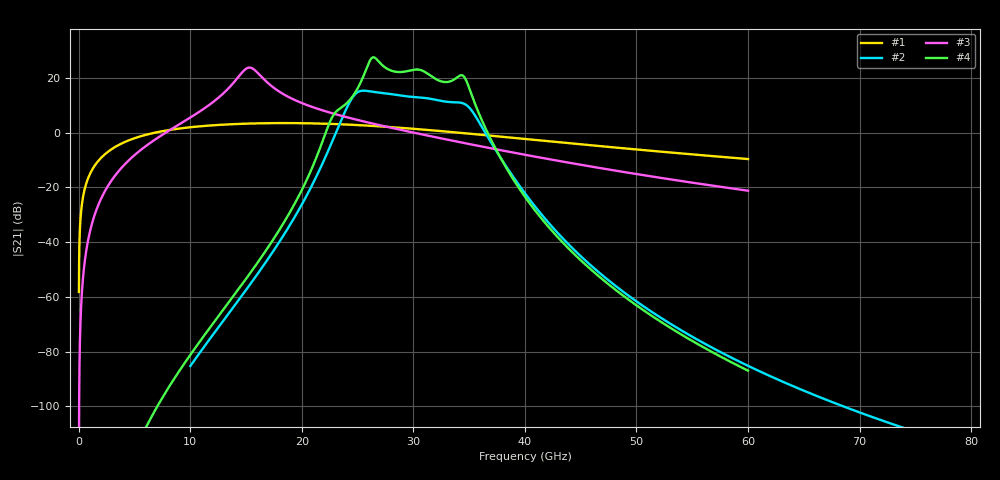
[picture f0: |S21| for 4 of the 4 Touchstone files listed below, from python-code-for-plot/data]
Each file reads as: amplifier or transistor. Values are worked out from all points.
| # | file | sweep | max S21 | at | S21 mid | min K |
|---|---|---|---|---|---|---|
| 1 | sdb-single.s2p | 10 MHz to 60 GHz | 3.5 dB | 18.38 GHz | 1.4 dB at 30.01 GHz | 0.09 |
| 2 | SDB-two-stage-ADS.s2p | 10 GHz to 80 GHz | 15.3 dB | 25.5 GHz | -45.1 dB at 45 GHz | 4.26 |
| 3 | two-stage-sdb-without.s2p | 10 MHz to 60 GHz | 23.8 dB | 15.3 GHz | 0.0 dB at 30.01 GHz | -4.53 |
| 4 | two-stage-sdb.s2p | 10 MHz to 60 GHz | 27.6 dB | 26.41 GHz | 23.0 dB at 30.01 GHz | -1167052049075076469882880.00 |
